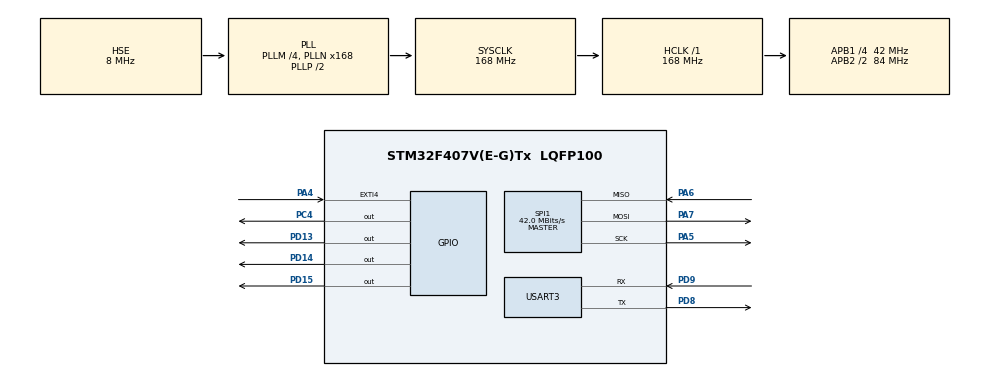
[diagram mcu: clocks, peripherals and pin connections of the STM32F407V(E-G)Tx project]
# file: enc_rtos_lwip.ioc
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Mcu.Family=STM32F4
RCC.PLLSourceVirtual=RCC_PLLSOURCE_HSE
NVIC.EXTI4_IRQn=true\:5\:0\:false\:false\:true\:true\:true\:true
PA6.Mode=Full_Duplex_Master
PH0-OSC_IN.Signal=RCC_OSC_IN
RCC.CortexFreq_Value=168000000
FREERTOS.Tasks01=defaultTask,0,128,StartDefaultTask,Default,NULL,Dynamic,NULL,NULL
PA7.Mode=Full_Duplex_Master
SPI1.VirtualType=VM_MASTER
PC4.Signal=GPIO_Output
PD9.Signal=USART3_RX
RCC.APB1CLKDivider=RCC_HCLK_DIV4
PD9.Mode=Asynchronous
RCC.SYSCLKSource=RCC_SYSCLKSOURCE_PLLCLK
ProjectManager.StackSize=0x400
PD13.Signal=GPIO_Output
ProjectManager.TargetToolchain=TrueSTUDIO
SPI1.Direction=SPI_DIRECTION_2LINES
RCC.HCLKFreq_Value=168000000
RCC.APB2TimFreq_Value=168000000
TIM3.Period=999
SPI1.CalculateBaudRate=42.0 MBits/s
PD8.Signal=USART3_TX
TIM4.Prescaler=83
RCC.LSE_VALUE=32768
PD8.Mode=Asynchronous
RCC.AHBFreq_Value=168000000
PH0-OSC_IN.Mode=HSE-External-Oscillator
PA5.Signal=SPI1_SCK
RCC.HSE_VALUE=8000000
board=custom
RCC.VCOOutputFreq_Value=336000000
NVIC.TIM3_IRQn=true\:5\:0\:false\:false\:true\:true\:true\:true
RCC.APB2Freq_Value=84000000
SPI1.Mode=SPI_MODE_MASTER
TIM3.Prescaler=83
NVIC.TIM2_IRQn=true\:0\:0\:false\:false\:true\:false\:false\:true
PH1-OSC_OUT.Signal=RCC_OSC_OUT
TIM4.Period=999
VP_FREERTOS_VS_CMSIS_V1.Mode=CMSIS_V1
Mcu.Name=STM32F407V(E-G)Tx
PD14.Signal=GPIO_Output
PH1-OSC_OUT.Mode=HSE-External-Oscillator
RCC.48MHZClocksFreq_Value=84000000
PA4.Signal=GPXTI4
RCC.SYSCLKFreq_VALUE=168000000
Mcu.Package=LQFP100
VP_SYS_VS_tim2.Mode=TIM2
PA6.Signal=SPI1_MISO
NVIC.TimeBase=TIM2_IRQn
USART3.VirtualMode=VM_ASYNC
NVIC.TimeBaseIP=TIM2
ProjectManager.HeapSize=0x200
RCC.HSI_VALUE=16000000
VP_TIM4_VS_ClockSourceINT.Mode=Internal
NVIC.PriorityGroup=NVIC_PRIORITYGROUP_4
RCC.APB2CLKDivider=RCC_HCLK_DIV2
RCC.PLLM=4
RCC.PLLN=168
RCC.APB1TimFreq_Value=84000000
NVIC.TIM4_IRQn=true\:5\:0\:false\:false\:true\:true\:true\:true
RCC.APB1Freq_Value=42000000
PD15.Signal=GPIO_Output
VP_TIM3_VS_ClockSourceINT.Mode=Internal
PA5.Mode=Full_Duplex_Master
PA7.Signal=SPI1_MOSI

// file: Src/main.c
/* USER CODE BEGIN Header */
/**
  ******************************************************************************
  * @file           : main.c
  * @brief          : Main program body
  ******************************************************************************
  * @attention
  *
  * <h2><center>&copy; Copyright (c) 2020 STMicroelectronics.
  * All rights reserved.</center></h2>
  *
  * This software component is licensed by ST under Ultimate Liberty license
  * SLA0044, the "License"; You may not use this file except in compliance with
  * the License. You may obtain a copy of the License at:
  *                             www.st.com/SLA0044
  *
  ******************************************************************************
  */
/* USER CODE END Header */

#include "main.h"

/* USER CODE BEGIN Includes */
#include "lwip/opt.h"
#include "lwip/init.h"
#include "lwip/netif.h"
#include "lwip/tcpip.h"
#include "netif/etharp.h"
#include "ethernetif.h"
#include "app_ethernet.h"

#include "stm32f4xx.h"
#include "FreeRTOS.h"
#include "task.h"
/* USER CODE END Includes */

SPI_HandleTypeDef hspi1;

TIM_HandleTypeDef htim3;
TIM_HandleTypeDef htim4;

UART_HandleTypeDef huart3;

void SystemClock_Config(void);
static void MX_GPIO_Init(void);
static void MX_SPI1_Init(void);
static void MX_TIM3_Init(void);
static void MX_TIM4_Init(void);
static void MX_USART3_UART_Init(void);
void StartDefaultTask(void const * argument);

/* USER CODE BEGIN PFP */
struct netif gnetif;
static void Netif_Config(void);
ip4_addr_t ipaddr;
ip4_addr_t netmask;
ip4_addr_t gw;
uint8_t IP_ADDRESS[4];
uint8_t NETMASK_ADDRESS[4];
uint8_t GATEWAY_ADDRESS[4];
/* USER CODE END PFP */

/* USER CODE BEGIN 0 */
TaskHandle_t myTaskHandle = NULL;

void LedToogle_Task(void *p)
{
	while(1){
		//vTaskDelay(1000);
	}
}
void tcp_echo_Task(void *p)
{
	while(1)
	{
	//	tcp_echoserver_init();
	    ethernetif_input(&gnetif);

		ethernet_transmit();
		vTaskDelay(500);
	}
}

/* USER CODE END 0 */

int main(void)
{

  /* MCU Configuration--------------------------------------------------------*/

  /* Reset of all peripherals, Initializes the Flash interface and the Systick. */
  HAL_Init();

  /* Configure the system clock */
  SystemClock_Config();

  /* Initialize all configured peripherals */
  MX_GPIO_Init();
  MX_SPI1_Init();
  MX_TIM3_Init();
  MX_TIM4_Init();
  MX_USART3_UART_Init();

  /* USER CODE BEGIN RTOS_MUTEX */
  /* add mutexes, ... */
	 Netif_Config();

	 /* Notify user about the network interface config */
	 User_notification(&gnetif);
  /* USER CODE END RTOS_MUTEX */

  /* Create the thread(s) */
  /* definition and creation of defaultTask */

	 xTaskCreate(tcp_echo_Task, "task2", 600, (void *)0, tskIDLE_PRIORITY, &myTaskHandle);
	 xTaskCreate(LedToogle_Task, "task1", 400, (void *) 0, tskIDLE_PRIORITY + 2, &myTaskHandle);
	 vTaskStartScheduler();

  /* Start scheduler */

  /* We should never get here as control is now taken by the scheduler */
  /* Infinite loop */
  while (1)
  {

  }
}

void SystemClock_Config(void)
{
  RCC_OscInitTypeDef RCC_OscInitStruct = {0};
  RCC_ClkInitTypeDef RCC_ClkInitStruct = {0};

  /** Configure the main internal regulator output voltage
  */
  __HAL_RCC_PWR_CLK_ENABLE();
  __HAL_PWR_VOLTAGESCALING_CONFIG(PWR_REGULATOR_VOLTAGE_SCALE1);
  /** Initializes the CPU, AHB and APB busses clocks
  */
  RCC_OscInitStruct.OscillatorType = RCC_OSCILLATORTYPE_HSE;
  RCC_OscInitStruct.HSEState = RCC_HSE_ON;
  RCC_OscInitStruct.PLL.PLLState = RCC_PLL_ON;
  RCC_OscInitStruct.PLL.PLLSource = RCC_PLLSOURCE_HSE;
  RCC_OscInitStruct.PLL.PLLM = 4;
  RCC_OscInitStruct.PLL.PLLN = 168;
  RCC_OscInitStruct.PLL.PLLP = RCC_PLLP_DIV2;
  RCC_OscInitStruct.PLL.PLLQ = 4;
  if (HAL_RCC_OscConfig(&RCC_OscInitStruct) != HAL_OK)
  {
    Error_Handler();
  }
  /** Initializes the CPU, AHB and APB busses clocks
  */
  RCC_ClkInitStruct.ClockType = RCC_CLOCKTYPE_HCLK|RCC_CLOCKTYPE_SYSCLK
                              |RCC_CLOCKTYPE_PCLK1|RCC_CLOCKTYPE_PCLK2;
  RCC_ClkInitStruct.SYSCLKSource = RCC_SYSCLKSOURCE_PLLCLK;
  RCC_ClkInitStruct.AHBCLKDivider = RCC_SYSCLK_DIV1;
  RCC_ClkInitStruct.APB1CLKDivider = RCC_HCLK_DIV4;
  RCC_ClkInitStruct.APB2CLKDivider = RCC_HCLK_DIV2;

  if (HAL_RCC_ClockConfig(&RCC_ClkInitStruct, FLASH_LATENCY_5) != HAL_OK)
  {
    Error_Handler();
  }
}

static void MX_SPI1_Init(void)
{

  /* SPI1 parameter configuration*/
  hspi1.Instance = SPI1;
  hspi1.Init.Mode = SPI_MODE_MASTER;
  hspi1.Init.Direction = SPI_DIRECTION_2LINES;
  hspi1.Init.DataSize = SPI_DATASIZE_8BIT;
  hspi1.Init.CLKPolarity = SPI_POLARITY_LOW;
  hspi1.Init.CLKPhase = SPI_PHASE_1EDGE;
  hspi1.Init.NSS = SPI_NSS_SOFT;
  hspi1.Init.BaudRatePrescaler = SPI_BAUDRATEPRESCALER_2;
  hspi1.Init.FirstBit = SPI_FIRSTBIT_MSB;
  hspi1.Init.TIMode = SPI_TIMODE_DISABLE;
  hspi1.Init.CRCCalculation = SPI_CRCCALCULATION_DISABLE;
  hspi1.Init.CRCPolynomial = 10;
  if (HAL_SPI_Init(&hspi1) != HAL_OK)
  {
    Error_Handler();
  }

}

static void MX_TIM3_Init(void)
{

  TIM_ClockConfigTypeDef sClockSourceConfig = {0};
  TIM_MasterConfigTypeDef sMasterConfig = {0};

  htim3.Instance = TIM3;
  htim3.Init.Prescaler = 83;
  htim3.Init.CounterMode = TIM_COUNTERMODE_UP;
  htim3.Init.Period = 999;
  htim3.Init.ClockDivision = TIM_CLOCKDIVISION_DIV1;
  htim3.Init.AutoReloadPreload = TIM_AUTORELOAD_PRELOAD_DISABLE;
  if (HAL_TIM_Base_Init(&htim3) != HAL_OK)
  {
    Error_Handler();
  }
  sClockSourceConfig.ClockSource = TIM_CLOCKSOURCE_INTERNAL;
  if (HAL_TIM_ConfigClockSource(&htim3, &sClockSourceConfig) != HAL_OK)
  {
    Error_Handler();
  }
  sMasterConfig.MasterOutputTrigger = TIM_TRGO_RESET;
  sMasterConfig.MasterSlaveMode = TIM_MASTERSLAVEMODE_DISABLE;
  if (HAL_TIMEx_MasterConfigSynchronization(&htim3, &sMasterConfig) != HAL_OK)
  {
    Error_Handler();
  }

}

static void MX_TIM4_Init(void)
{

  TIM_ClockConfigTypeDef sClockSourceConfig = {0};
  TIM_MasterConfigTypeDef sMasterConfig = {0};

  htim4.Instance = TIM4;
  htim4.Init.Prescaler = 83;
  htim4.Init.CounterMode = TIM_COUNTERMODE_UP;
  htim4.Init.Period = 999;
  htim4.Init.ClockDivision = TIM_CLOCKDIVISION_DIV1;
  htim4.Init.AutoReloadPreload = TIM_AUTORELOAD_PRELOAD_DISABLE;
  if (HAL_TIM_Base_Init(&htim4) != HAL_OK)
  {
    Error_Handler();
  }
  sClockSourceConfig.ClockSource = TIM_CLOCKSOURCE_INTERNAL;
  if (HAL_TIM_ConfigClockSource(&htim4, &sClockSourceConfig) != HAL_OK)
  {
    Error_Handler();
  }
  sMasterConfig.MasterOutputTrigger = TIM_TRGO_RESET;
  sMasterConfig.MasterSlaveMode = TIM_MASTERSLAVEMODE_DISABLE;
  if (HAL_TIMEx_MasterConfigSynchronization(&htim4, &sMasterConfig) != HAL_OK)
  {
    Error_Handler();
  }

}

static void MX_USART3_UART_Init(void)
{

  huart3.Instance = USART3;
  huart3.Init.BaudRate = 115200;
  huart3.Init.WordLength = UART_WORDLENGTH_8B;
  huart3.Init.StopBits = UART_STOPBITS_1;
  huart3.Init.Parity = UART_PARITY_NONE;
  huart3.Init.Mode = UART_MODE_TX_RX;
  huart3.Init.HwFlowCtl = UART_HWCONTROL_NONE;
  huart3.Init.OverSampling = UART_OVERSAMPLING_16;
  if (HAL_UART_Init(&huart3) != HAL_OK)
  {
    Error_Handler();
  }

}

static void MX_GPIO_Init(void)
{
  GPIO_InitTypeDef GPIO_InitStruct = {0};

  /* GPIO Ports Clock Enable */
  __HAL_RCC_GPIOH_CLK_ENABLE();
  __HAL_RCC_GPIOA_CLK_ENABLE();
  __HAL_RCC_GPIOC_CLK_ENABLE();
  __HAL_RCC_GPIOD_CLK_ENABLE();

  /*Configure GPIO pin Output Level */
  HAL_GPIO_WritePin(GPIOC, GPIO_PIN_4, GPIO_PIN_RESET);

  /*Configure GPIO pin Output Level */
  HAL_GPIO_WritePin(GPIOD, GPIO_PIN_13|GPIO_PIN_14|GPIO_PIN_15, GPIO_PIN_RESET);

  /*Configure GPIO pin : PA4 */
  GPIO_InitStruct.Pin = GPIO_PIN_4;
  GPIO_InitStruct.Mode = GPIO_MODE_IT_RISING;
  GPIO_InitStruct.Pull = GPIO_NOPULL;
  HAL_GPIO_Init(GPIOA, &GPIO_InitStruct);

  /*Configure GPIO pin : PC4 */
  GPIO_InitStruct.Pin = GPIO_PIN_4;
  GPIO_InitStruct.Mode = GPIO_MODE_OUTPUT_PP;
  GPIO_InitStruct.Pull = GPIO_NOPULL;
  GPIO_InitStruct.Speed = GPIO_SPEED_FREQ_LOW;
  HAL_GPIO_Init(GPIOC, &GPIO_InitStruct);

  /*Configure GPIO pins : PD13 PD14 PD15 */
  GPIO_InitStruct.Pin = GPIO_PIN_13|GPIO_PIN_14|GPIO_PIN_15;
  GPIO_InitStruct.Mode = GPIO_MODE_OUTPUT_PP;
  GPIO_InitStruct.Pull = GPIO_NOPULL;
  GPIO_InitStruct.Speed = GPIO_SPEED_FREQ_LOW;
  HAL_GPIO_Init(GPIOD, &GPIO_InitStruct);

  /* EXTI interrupt init*/
  HAL_NVIC_SetPriority(EXTI4_IRQn, 5, 0);
  HAL_NVIC_EnableIRQ(EXTI4_IRQn);

}

/* USER CODE BEGIN 4 */

static void Netif_Config(void)
{
  struct ip4_addr ipaddr;
  struct ip4_addr netmask;
  struct ip4_addr gw;

  /* Create tcp_ip stack thread */
  tcpip_init(NULL, NULL);

  IP4_ADDR(&ipaddr, IP_ADDR0, IP_ADDR1, IP_ADDR2, IP_ADDR3);
  IP4_ADDR(&netmask, NETMASK_ADDR0, NETMASK_ADDR1 , NETMASK_ADDR2, NETMASK_ADDR3);
  IP4_ADDR(&gw, GW_ADDR0, GW_ADDR1, GW_ADDR2, GW_ADDR3);

  /* add the network interface */
  netif_add(&gnetif, &ipaddr, &netmask, &gw, NULL, &ethernetif_init, &tcpip_input);

  /*  Registers the default network interface */
  netif_set_default(&gnetif);

  if (netif_is_link_up(&gnetif))
  {
    /* When the netif is fully configured this function must be called */
    netif_set_up(&gnetif);
  }
}
/* USER CODE END 4 */

 /**
  * @brief  Period elapsed callback in non blocking mode
  * @note   This function is called  when TIM2 interrupt took place, inside
  * HAL_TIM_IRQHandler(). It makes a direct call to HAL_IncTick() to increment
  * a global variable "uwTick" used as application time base.
  * @param  htim : TIM handle
  * @retval None
  */
void HAL_TIM_PeriodElapsedCallback(TIM_HandleTypeDef *htim)
{
  if (htim->Instance == TIM2) {
    HAL_IncTick();
  }
}

void Error_Handler(void)
{
}

/************************ (C) COPYRIGHT STMicroelectronics *****END OF FILE****/
